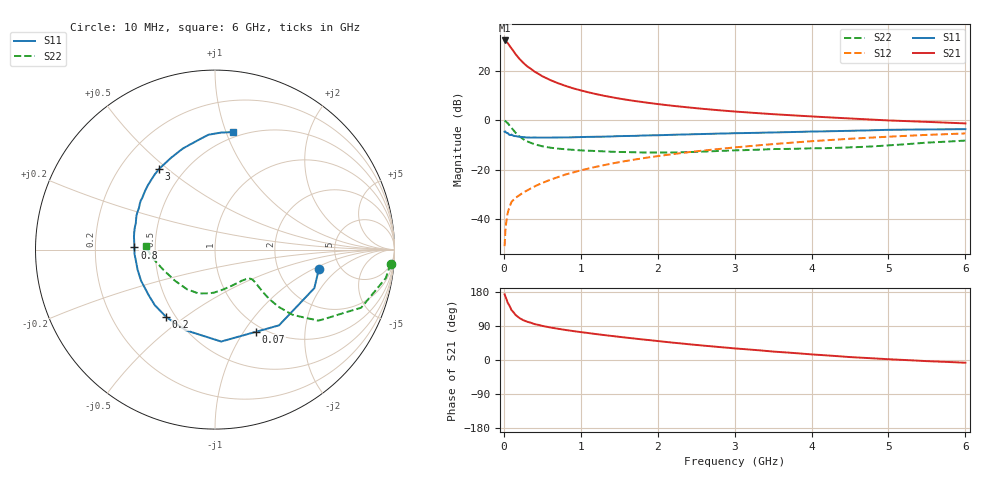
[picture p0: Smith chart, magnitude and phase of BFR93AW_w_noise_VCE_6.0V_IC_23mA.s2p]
! Infineon Technologies  Discrete & RF Semiconductors
! BFR93AW
! VCE =  6.0 V,  IC =  23 mA
! Common Emitter S-Parameters:  Jan 2017
# GHz  S  MA  R  50
!  f  S11  S21  S12  S22
! GHz  MAG  ANG  MAG  ANG  MAG  ANG  MAG  ANG
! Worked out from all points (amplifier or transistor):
!   77 points, 10 MHz to 6 GHz, reference 50 ohm
!   highest |S21| = 32.4 dB at 10 MHz (marker M1)
!   |S21| within 3 dB of that: start of sweep to 94.38 MHz
!   unconditionally stable (mu >= 1): 656.6 MHz to 2.05 GHz
!   at 130 MHz: K = 0.46, MSG = 30.0 dB, |S12| = -32.1 dB
!   at 2.2 GHz: K = 0.99, MSG = 9.8 dB, |S12| = -13.7 dB
!   at 6 GHz: K = 0.87, MSG = 2.0 dB, |S12| = -5.3 dB
!   lowest NFmin = 1.60 dB at 450 MHz
!   S11 on the Smith chart (normalised r, x): 10 MHz: 3.45, -1.15; 70 MHz: 0.92, -1.14; 200 MHz: 0.45, -0.43; 800 MHz: 0.38, +0.01; 3 GHz: 0.37, +0.47; 6 GHz: 0.45, +1.05
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0.01  0.5888 -10.7  41.58 173.4  0.0028 80.7  0.982 -4.6
0.02  0.5936 -21.2  41.21 167.6  0.0058 85.4  0.9645 -9.5
0.05  0.5525 -49.8  36.95 151.1  0.0131 69.6  0.8764 -21.7
0.07  0.5115 -63.6  33.21 144.4  0.0167 65.8  0.8009 -26.1
0.1  0.5134 -86.2  28.7 131.5  0.0221 62.5  0.6991 -34.5
0.15  0.478 -109.9  22.23 119.3  0.0267 57.9  0.5634 -40.1
0.2  0.464 -125.8  17.81 111.2  0.03 58.0  0.4755 -42.0
0.25  0.4564 -137.4  14.8 105.3  0.0341 57.9  0.4169 -42.3
0.3  0.4484 -145.5  12.55 101.2  0.0375 60.0  0.3744 -41.9
0.4  0.4471 -157.2  9.68 94.7  0.0456 62.8  0.3255 -40.6
0.5  0.4456 -165.4  7.832 90.0  0.0536 64.5  0.2967 -39.5
0.6  0.4451 -171.9  6.592 86.0  0.062 66.0  0.2788 -38.9
0.8  0.4494 178.5  4.999 79.3  0.0795 68.7  0.2584 -39.2
0.9  0.452 174.6  4.452 76.4  0.0874 68.5  0.2515 -40.0
1.1  0.4605 167.7  3.69 71.1  0.105 68.9  0.2416 -42.4
1.5  0.4772 156.4  2.757 61.2  0.1415 67.9  0.2277 -50.5
2.1  0.5025 142.3  2.047 47.9  0.1969 64.3  0.2221 -68.4
3  0.5468 124.6  1.506 30.6  0.2815 57.0  0.2455 -96.9
3.1  0.5498 122.8  1.469 29.1  0.2908 56.0  0.2474 -99.8
4.1  0.5947 106.0  1.175 13.5  0.3853 46.1  0.271 -128.8
5.1  0.6428 92.0  0.98 1.1  0.4728 35.0  0.3171 -162.1
6  0.6616 81.5  0.865 -7.2  0.5414 24.8  0.3876 176.8
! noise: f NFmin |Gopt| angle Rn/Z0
0.45  1.6  0.15  166  0.15
0.9  1.88  0.24  177  0.16
1.9  2.89  0.48  -138  0.24
2.4  3.53  0.55  -126  0.48
